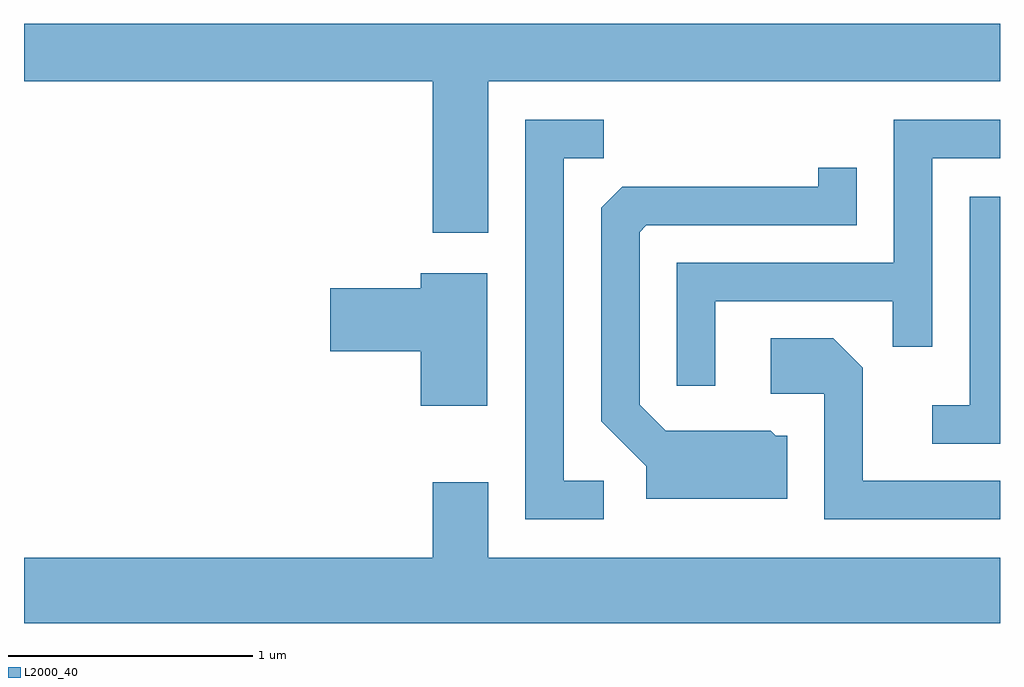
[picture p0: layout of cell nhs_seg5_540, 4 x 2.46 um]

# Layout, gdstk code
import gdstk
lib = gdstk.Library(unit=1e-6, precision=1e-09)
def P(c, l, *ps):  # polygons
    for p in ps: c.add(gdstk.Polygon(p, *l))
L2000_40 = (2000, 40)

nhs_seg5_540 = lib.new_cell('nhs_seg5_540')
P(nhs_seg5_540, L2000_40, [(201.514,1527.836),(203.611,1527.836),(203.611,1528.072),(199.611,1528.072),(199.611,1527.836),(201.286,1527.836),(201.286,1527.216),(201.514,1527.216)],
  [(201.988,1526.199),(201.824,1526.199),(201.824,1527.521),(201.988,1527.521),(201.988,1527.679),(201.666,1527.679),(201.666,1526.041),(201.988,1526.041)],
  [(202.444,1526.936),(203.171,1526.936),(203.171,1526.748),(203.334,1526.748),(203.334,1527.521),(203.611,1527.521),(203.611,1527.679),(203.176,1527.679),(203.176,1527.094),(202.286,1527.094),(202.286,1526.588),(202.444,1526.588)],
  [(202.739,1526.384),(202.692,1526.384),(202.672,1526.404),(202.242,1526.404),(202.134,1526.512),(202.134,1527.219),(202.162,1527.246),(203.024,1527.246),(203.024,1527.483),(202.866,1527.483),(202.866,1527.404),(202.062,1527.404),(201.976,1527.319),(201.976,1526.444),(202.161,1526.259),(202.161,1526.126),(202.739,1526.126)],
  [(203.611,1527.364),(203.486,1527.364),(203.486,1526.509),(203.333,1526.509),(203.333,1526.351),(203.611,1526.351)],
  [(201.509,1527.049),(201.236,1527.049),(201.236,1526.989),(200.866,1526.989),(200.866,1526.731),(201.236,1526.731),(201.236,1526.506),(201.509,1526.506)],
  [(203.611,1526.199),(203.049,1526.199),(203.049,1526.662),(202.927,1526.784),(202.671,1526.784),(202.671,1526.556),(202.891,1526.556),(202.891,1526.041),(203.611,1526.041)],
  [(203.611,1525.884),(201.514,1525.884),(201.514,1526.194),(201.286,1526.194),(201.286,1525.884),(199.611,1525.884),(199.611,1525.616),(203.611,1525.616)])

lib.write_gds('nhs_seg5_540.gds')
